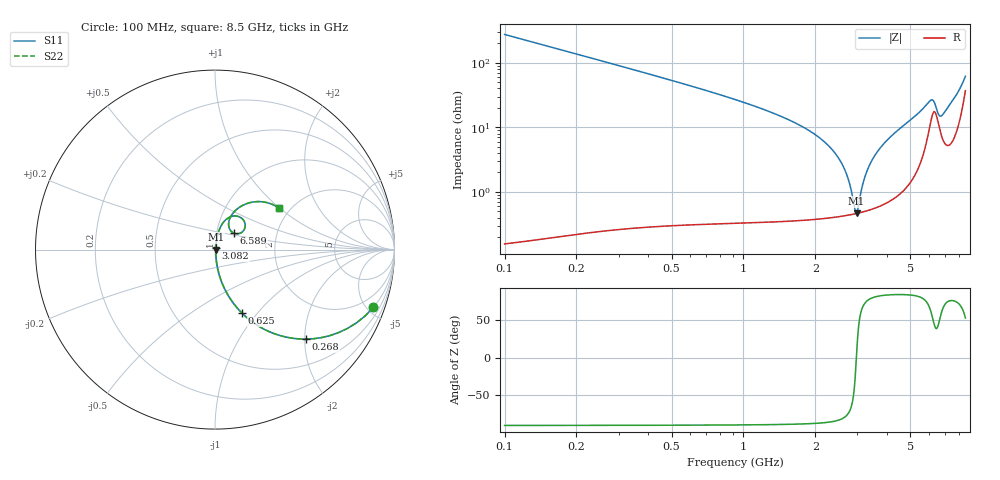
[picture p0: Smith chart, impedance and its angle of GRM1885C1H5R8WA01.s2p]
!Murata Part Number: GRM1885C1H5R8WA01
!These Parameters are Measured in Series Mode Connection
!Data Generated on Mar 30, 2021
!  o--ll--o
!Port1  Port2
!  o------o
!Operation Temp=25[degC], DC Bias Voltage=0[V]
!Freq. Start=100[MHz] Stop=9[GHz] 401[Steps]
# Hz S RI R 50
!Freq.(Hz) S11(Real) S11(Imag) S21(Real) S21(Imag) S12(Real) S12(Imag) S22(Real) S22(Imag)
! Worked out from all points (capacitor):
!   401 points, 100 MHz to 8.5 GHz, reference 50 ohm
!   read as one part in series: C = 5.8 pF near 142 MHz
!   lowest |Z| = 466 mohm at 2.977 GHz (marker M1)
!   series resonance near 2.971 GHz, so ESL is about 490 pH
!   S11 on the Smith chart (normalised r, x): 100 MHz: 1.00, -5.48; 268 MHz: 1.01, -2.03; 625 MHz: 1.01, -0.84; 3.082 GHz: 1.01, +0.01; 6.589 GHz: 1.21, +0.23; 8.5 GHz: 1.74, +0.99
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1e8  0.8823 -0.3219  0.1177 0.3219  0.1177 0.3219  0.8823 -0.3219
2.68e8  0.5074 -0.4987  0.4926 0.4987  0.4926 0.4987  0.5074 -0.4987
4.15e8  0.2967 -0.4546  0.7033 0.4546  0.7033 0.4546  0.2967 -0.4546
6.25e8  0.1518 -0.3552  0.8482 0.3552  0.8482 0.3552  0.1518 -0.3552
9.61e8  0.0645 -0.2394  0.9355 0.2394  0.9355 0.2394  0.0645 -0.2394
1.507e9  0.0217 -0.1335  0.9783 0.1335  0.9783 0.1335  0.0217 -0.1335
2.116e9  0.00806 -0.0649  0.9919 0.0649  0.9919 0.0649  0.00806 -0.0649
2.494e9  0.00523 -0.0335  0.9948 0.0335  0.9948 0.0335  0.00523 -0.0335
2.725e9  0.00461 -0.0166  0.9954 0.0166  0.9954 0.0166  0.00461 -0.0166
2.914e9  0.00456 -0.00375  0.9954 0.00375  0.9954 0.00375  0.00456 -0.00375
2.977e9  0.00462 0.000391  0.9954 -0.000391  0.9954 -0.000391  0.00462 0.000391
3.082e9  0.00481 0.00716  0.9952 -0.00716  0.9952 -0.00716  0.00481 0.00716
3.25e9  0.00533 0.0177  0.9947 -0.0177  0.9947 -0.0177  0.00533 0.0177
3.481e9  0.00644 0.0317  0.9936 -0.0317  0.9936 -0.0317  0.00644 0.0317
3.817e9  0.00889 0.0515  0.9911 -0.0515  0.9911 -0.0515  0.00889 0.0515
4.3e9  0.0144 0.0797  0.9856 -0.0797  0.9856 -0.0797  0.0144 0.0797
5.707e9  0.0741 0.1767  0.9259 -0.1767  0.9259 -0.1767  0.0741 0.1767
6.169e9  0.1613 0.1601  0.8387 -0.1601  0.8387 -0.1601  0.1613 0.1601
6.589e9  0.1041 0.0921  0.8959 -0.0921  0.8959 -0.0921  0.1041 0.0921
7.114e9  0.079 0.1634  0.921 -0.1634  0.921 -0.1634  0.079 0.1634
7.87e9  0.1609 0.2497  0.8391 -0.2497  0.8391 -0.2497  0.1609 0.2497
8.5e9  0.3539 0.2334  0.6461 -0.2334  0.6461 -0.2334  0.3539 0.2334
